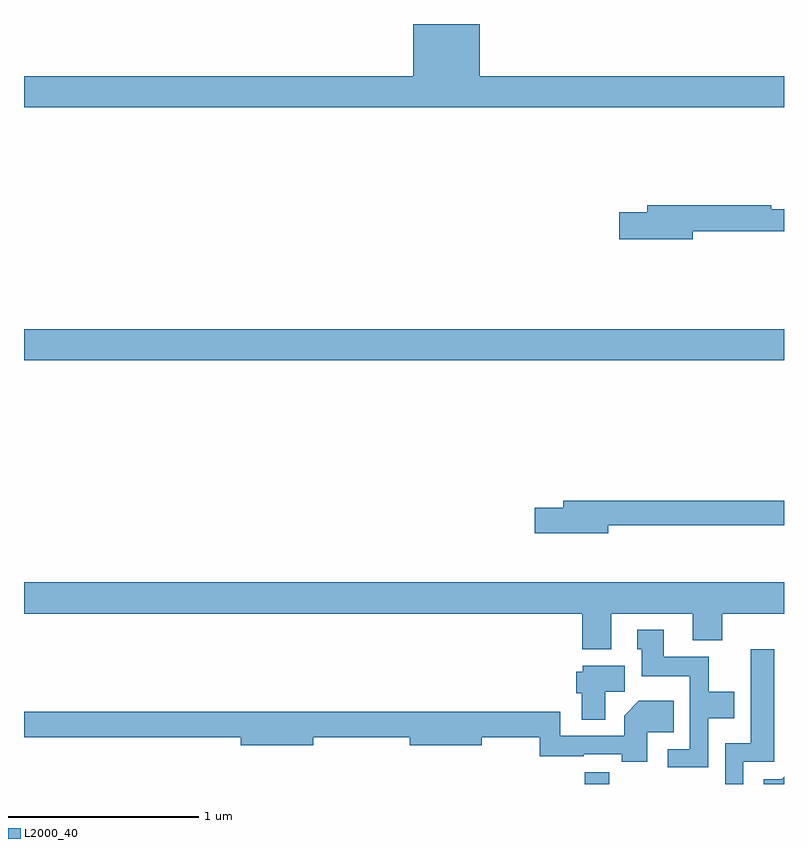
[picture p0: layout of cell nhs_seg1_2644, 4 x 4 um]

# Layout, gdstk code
import gdstk
lib = gdstk.Library(unit=1e-6, precision=1e-09)
def R(c, l, rs):  # rectangles x0, y0, x1, y1
    for r in rs: c.add(gdstk.rectangle(r[:2], r[2:], *l))
def P(c, l, *ps):  # polygons
    for p in ps: c.add(gdstk.Polygon(p, *l))
L2000_40 = (2000, 40)

nhs_seg1_2644 = lib.new_cell('nhs_seg1_2644')
R(nhs_seg1_2644, L2000_40, [(257.95,520.199,258.079,520.261), (255,522.428,259,522.592)])
P(nhs_seg1_2644, L2000_40, [(259,523.924),(257.398,523.924),(257.398,524.199),(257.048,524.199),(257.048,523.924),(255,523.924),(255,523.76),(259,523.76)],
  [(258.52,523.108),(259,523.108),(259,523.224),(258.932,523.224),(258.932,523.244),(258.281,523.244),(258.281,523.208),(258.132,523.208),(258.132,523.066),(258.52,523.066)],
  [(258.076,521.562),(259,521.562),(259,521.69),(257.837,521.69),(257.837,521.654),(257.688,521.654),(257.688,521.519),(258.076,521.519)],
  [(255,521.096),(257.939,521.096),(257.939,520.907),(258.091,520.907),(258.091,521.096),(258.521,521.096),(258.521,520.955),(258.674,520.955),(258.674,521.096),(259,521.096),(259,521.26),(255,521.26)],
  [(258.6,520.544),(258.739,520.544),(258.739,520.684),(258.603,520.684),(258.603,520.87),(258.367,520.87),(258.367,521.011),(258.227,521.011),(258.227,520.908),(258.251,520.908),(258.251,520.766),(258.504,520.766),(258.504,520.383),(258.387,520.383),(258.387,520.287),(258.6,520.287)],
  [(258.786,520.317),(258.949,520.317),(258.949,520.909),(258.824,520.909),(258.824,520.414),(258.69,520.414),(258.69,520.199),(258.786,520.199)],
  [(258.058,520.684),(258.163,520.684),(258.163,520.822),(257.94,520.822),(257.94,520.791),(257.906,520.791),(257.906,520.677),(257.936,520.677),(257.936,520.537),(258.058,520.537)],
  [(258.28,520.472),(258.419,520.472),(258.419,520.636),(258.236,520.636),(258.158,520.558),(258.158,520.452),(257.823,520.452),(257.823,520.58),(255,520.58),(255,520.444),(256.142,520.444),(256.142,520.402),(256.522,520.402),(256.522,520.444),(257.03,520.444),(257.03,520.402),(257.41,520.402),(257.41,520.444),(257.715,520.444),(257.715,520.344),(257.946,520.344),(257.946,520.356),(258.146,520.356),(258.146,520.315),(258.28,520.315)],
  [(259,520.237),(258.987,520.224),(258.894,520.224),(258.894,520.199),(259,520.199)])

lib.write_gds('nhs_seg1_2644.gds')
